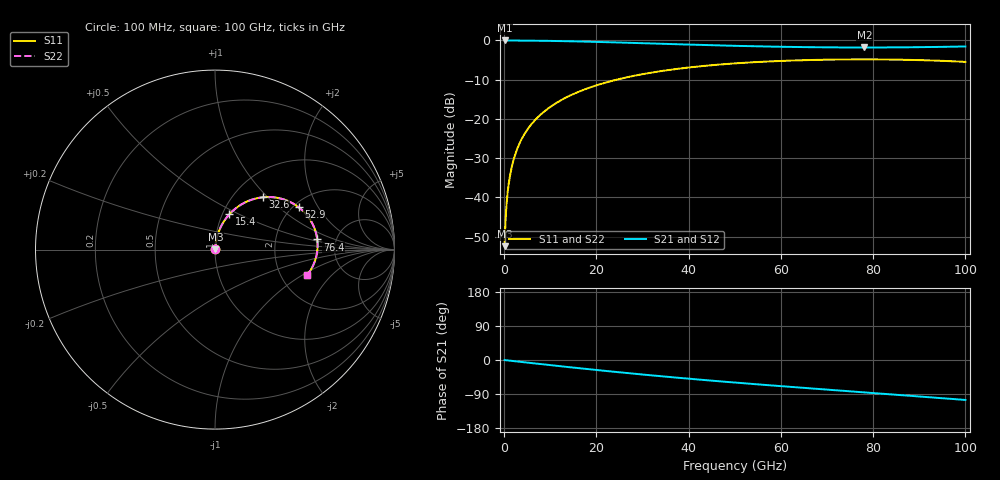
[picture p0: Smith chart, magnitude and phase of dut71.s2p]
! Touchstone file exported from HFSS 2026.1.0
!  File:  C:/ffzhzh/LocalFiles/Ansys_Project_Files/temp_train_RDL_71_1783498629_44152.aedt
!  Generated:  04:18:19 PM Jul  8, 2026
!  Design:  RDL
!  Project:  temp_train_RDL_71_1783498629_44152
! Variables:
!  h_bsmrdl = 2um
!  h_ox = 20um
!  h_rdl = 5um
!  h_sub = 80um
!  h_tmrdl = 2.94um
!  h_tsv = 80um
!  h_via = 3um
!  l_bsmrdl = 300um
!  l_sub = 733.73um
!  l_tmrdl = 333.73um
!  m_sub = 200um
!  pitch = 59.38um
!  r_tsv = 6um
!  s_tmrdl = 10um
!  w_bsmrdl = 18um
!  w_sub = 500um
!  w_tmrdl = 27.13um
!  x_tsv_center1 = 347.295um
!  x_tsv_center2 = 665.295um
!  x_tsv_center3 = 1026.155um
!  x_tsv_center4 = 1344.155um
!  x_tsv_center5 = 1705.015um
!  x_tsv_center6 = 2023.015um
# GHz S MA R 50.000000
! Terminal data exported
! Port[1] = TM_RDL1_1_T1
! Port[2] = TM_RDL1_1_T2
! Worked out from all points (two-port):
!   1000 points, 100 MHz to 100 GHz, reference 50 ohm
!   highest |S21| = -0.02 dB at 100 MHz (marker M1); lowest = -1.8 dB at 78.1 GHz (marker M2)
!   |S21| within 3 dB of the highest: start of sweep to end of sweep
!   lowest |S11| = -52.5 dB at 100 MHz (marker M3), VSWR 1.00, Z = 50.2 + j0.16 ohm
!   |S11| at or under -10 dB: start of sweep to 24.45 GHz
!   |S22| runs from -52.5 to -4.8 dB; largest |S21 - S12| = 1.5e-14
!   S11 on the Smith chart (normalised r, x): 100 MHz: 1.00, +0.00; 15.4 GHz: 1.08, +0.44; 32.6 GHz: 1.35, +0.93; 52.9 GHz: 2.13, +1.38; 76.4 GHz: 3.57, +0.60; 100 GHz: 2.78, -1.11
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0.1  0.002381 42.1  0.9982 -0.1  0.9982 -0.1  0.002381 42.1
! Gamma 0 0 0 0
! Port Impedance 50 0 50 0
0.8  0.01212 78.3  0.9977 -1.1  0.9977 -1.1  0.01212 78.3
1.1  0.01641 80.5  0.9976 -1.5  0.9976 -1.5  0.01641 80.5
1.4  0.02072 81.6  0.9974 -1.9  0.9974 -1.9  0.02072 81.6
1.9  0.02794 82.4  0.9972 -2.6  0.9972 -2.6  0.02794 82.4
2.4  0.03516 82.6  0.9969 -3.3  0.9969 -3.3  0.03516 82.6
3.7  0.05389 82.0  0.9958 -5.1  0.9958 -5.1  0.05389 82.0
5.7  0.08239 80.0  0.9934 -7.8  0.9934 -7.8  0.08239 80.0
8.2  0.1173 76.9  0.9892 -11.1  0.9892 -11.1  0.1173 76.9
11.4  0.1605 72.9  0.9823 -15.4  0.9823 -15.4  0.1605 72.9
15.4  0.212 67.9  0.9717 -20.6  0.9717 -20.6  0.212 67.9
16.8  0.2292 66.2  0.9675 -22.3  0.9675 -22.3  0.2292 66.2
23.9  0.3105 57.6  0.9438 -31.1  0.9438 -31.1  0.3105 57.6
32.6  0.3941 47.7  0.9116 -41.3  0.9116 -41.3  0.3941 47.7
33.4  0.4009 46.8  0.9087 -42.2  0.9087 -42.2  0.4009 46.8
50.1  0.5097 29.6  0.8526 -59.6  0.8526 -59.6  0.5097 29.6
52.9  0.5222 26.9  0.8451 -62.3  0.8451 -62.3  0.5222 26.9
66.7  0.5629 14.3  0.8188 -75.1  0.8188 -75.1  0.5629 14.3
76.4  0.5725 5.7  0.812 -83.8  0.812 -83.8  0.5725 5.7
78.1  0.5727 4.2  0.8119 -85.3  0.8119 -85.3  0.5727 4.2
83.4  0.5702 -0.5  0.8134 -90.1  0.8134 -90.1  0.5702 -0.5
100  0.5324 -15.5  0.8372 -105.4  0.8372 -105.4  0.5323 -15.5
